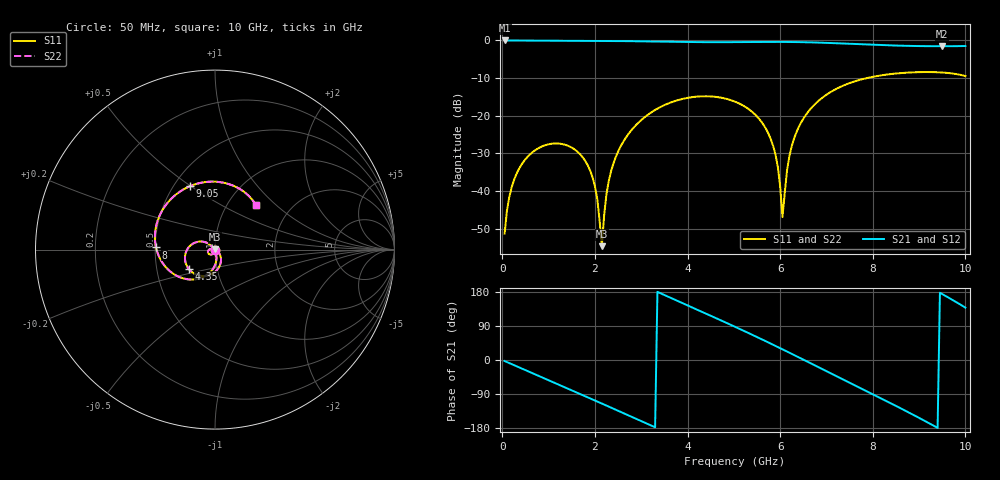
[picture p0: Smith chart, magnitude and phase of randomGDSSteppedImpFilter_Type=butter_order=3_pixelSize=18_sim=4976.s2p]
! freq	dB(S11)	phase(S11)	dB(S12)	phase(S12)
!  dB(S21)	phase(S21)	dB(S22)	phase(S22)
!S-par simulation data
#  GHz  S  DB  R 50
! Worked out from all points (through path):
!   200 points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, 50 MHz to 10 GHz, reference 50 ohm
!   highest |S21| = 0.00 dB at 50 MHz (marker M1); lowest = -1.5 dB at 9.5 GHz (marker M2)
!   group delay of S21, straight-line fit = 160 ps
!   lowest |S11| = -54.7 dB at 2.15 GHz (marker M3), VSWR 1.00, Z = 50.1 + j0.155 ohm
!   |S11| at or under -10 dB: start of sweep to 7.871 GHz
!   |S22| runs from -54.6 to -8.4 dB; largest |S21 - S12| = 0
!   S11 on the Smith chart (normalised r, x): 50 MHz: 1.00, -0.01; 4.35 GHz: 0.73, -0.16; 8 GHz: 0.51, +0.01; 9.05 GHz: 0.60, +0.50; 10 GHz: 1.35, +0.75
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0.05  -51.32 -90.1  -0.00 -2.7  -0.00 -2.7  -51.30 -90.2
0.25  -37.20 -101.9  -0.02 -13.4  -0.02 -13.4  -37.20 -101.9
0.6  -30.25 -121.8  -0.04 -32.1  -0.04 -32.1  -30.25 -121.9
1.75  -31.27 173.6  -0.11 -93.4  -0.11 -93.4  -31.27 173.6
2  -38.71 155.8  -0.13 -106.8  -0.13 -106.8  -38.70 155.6
2.15  -54.66 56.5  -0.13 -114.9  -0.13 -114.9  -54.57 56.8
2.25  -40.78 -21.1  -0.14 -120.3  -0.14 -120.3  -40.79 -20.9
2.45  -30.98 -38.5  -0.16 -131.2  -0.16 -131.2  -30.99 -38.4
3.4  -17.78 -92.5  -0.30 177.0  -0.30 177.0  -17.78 -92.5
4.35  -14.83 -144.1  -0.45 125.1  -0.45 125.1  -14.83 -144.1
5.05  -16.38 177.7  -0.45 86.3  -0.45 86.3  -16.38 177.7
5.8  -26.28 137.5  -0.39 43.1  -0.39 43.1  -26.28 137.4
5.95  -33.59 134.5  -0.39 34.2  -0.39 34.2  -33.60 134.3
6.05  -46.91 -166.8  -0.39 28.2  -0.39 28.2  -47.08 -167.0
6.25  -28.10 -79.0  -0.41 16.2  -0.41 16.2  -28.10 -78.8
6.7  -17.59 -102.7  -0.52 -11.1  -0.52 -11.1  -17.59 -102.7
7.4  -11.80 -145.1  -0.84 -53.7  -0.84 -53.7  -11.80 -145.0
8  -9.66 177.9  -1.15 -90.2  -1.15 -90.2  -9.66 178.0
8.35  -8.99 156.1  -1.31 -111.7  -1.31 -111.7  -8.99 156.2
9.05  -8.41 111.3  -1.51 -156.0  -1.51 -156.0  -8.41 111.4
9.5  -8.52 81.5  -1.55 174.0  -1.55 174.0  -8.52 81.6
10  -9.46 47.2  -1.48 138.2  -1.48 138.2  -9.46 47.3
